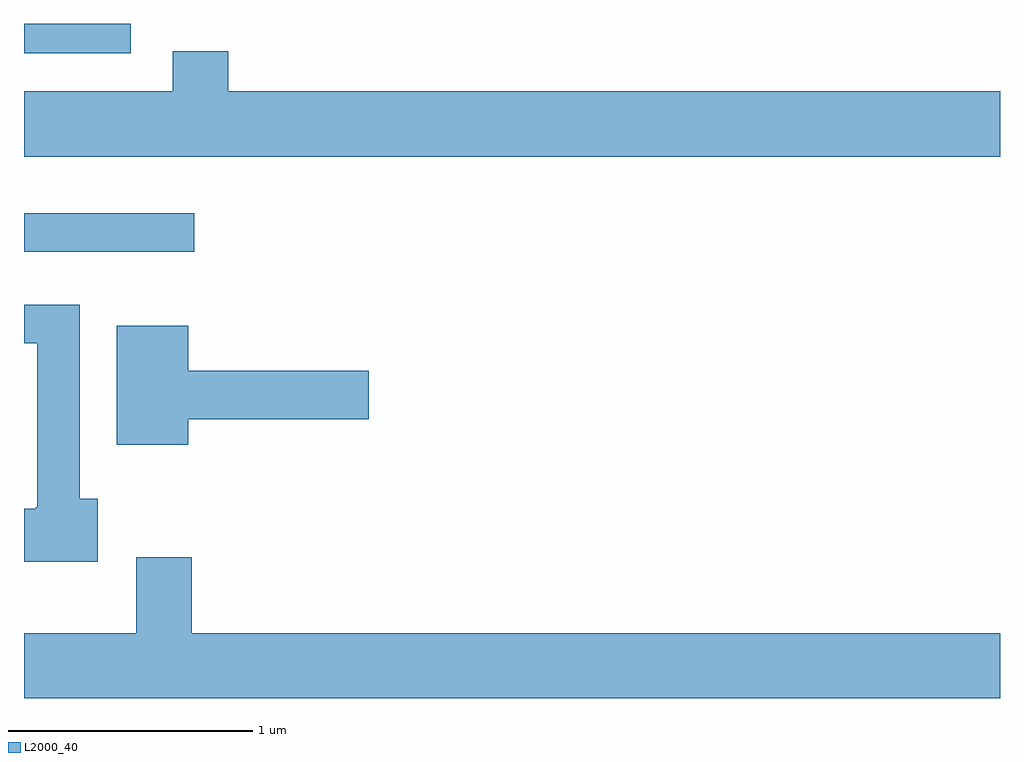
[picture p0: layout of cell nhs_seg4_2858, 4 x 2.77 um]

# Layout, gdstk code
import gdstk
lib = gdstk.Library(unit=1e-6, precision=1e-09)
def R(c, l, rs):  # rectangles x0, y0, x1, y1
    for r in rs: c.add(gdstk.rectangle(r[:2], r[2:], *l))
def P(c, l, *ps):  # polygons
    for p in ps: c.add(gdstk.Polygon(p, *l))
L2000_40 = (2000, 40)

nhs_seg4_2858 = lib.new_cell('nhs_seg4_2858')
R(nhs_seg4_2858, L2000_40, [(269.611,1261.046,270.308,1261.204), (269.611,1261.861,270.049,1261.982)])
P(nhs_seg4_2858, L2000_40, [(273.611,1261.704),(270.449,1261.704),(270.449,1261.869),(270.221,1261.869),(270.221,1261.704),(269.611,1261.704),(269.611,1261.436),(273.611,1261.436)],
  [(269.914,1260.034),(269.839,1260.034),(269.839,1260.829),(269.611,1260.829),(269.611,1260.671),(269.666,1260.671),(269.666,1260),(269.66,1260),(269.66,1259.994),(269.611,1259.994),(269.611,1259.776),(269.914,1259.776)],
  [(270.284,1260.361),(271.024,1260.361),(271.024,1260.559),(270.284,1260.559),(270.284,1260.744),(269.991,1260.744),(269.991,1260.256),(270.284,1260.256)],
  [(273.611,1259.484),(270.299,1259.484),(270.299,1259.794),(270.071,1259.794),(270.071,1259.484),(269.611,1259.484),(269.611,1259.216),(273.611,1259.216)])

lib.write_gds('nhs_seg4_2858.gds')
